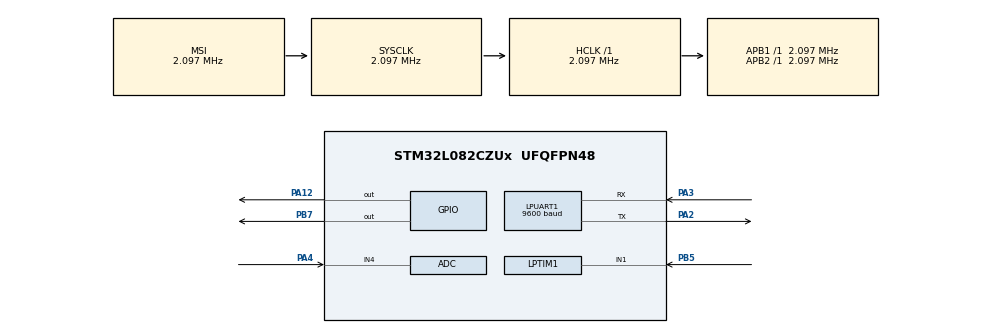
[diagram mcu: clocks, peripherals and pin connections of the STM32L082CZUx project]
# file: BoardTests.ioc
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ADC.DataAlign=ADC_DATAALIGN_RIGHT
ADC.Resolution=ADC_RESOLUTION_12B
ADC.SamplingTime=ADC_SAMPLETIME_39CYCLES_5
LPTIM1.UpdateMode=LPTIM_UPDATE_IMMEDIATE
LPUART1.BaudRate=9600
LPUART1.WordLength=UART_WORDLENGTH_8B
Mcu.Family=STM32L0
Mcu.Name=STM32L082CZUx
Mcu.Package=UFQFPN48
NVIC.LPTIM1_IRQn=true\:0\:0\:false\:false\:true\:true\:true
NVIC.RTC_IRQn=true\:0\:0\:false\:false\:true\:true\:true
PA12.PinState=GPIO_PIN_RESET
PA12.Signal=GPIO_Output
PA2.Mode=Asynchronous
PA2.Signal=LPUART1_TX
PA3.Mode=Asynchronous
PA3.Signal=LPUART1_RX
PA4.Mode=IN4
PA4.Signal=ADC_IN4
PB5.Mode=Counts_external_clock_standalone_1X_occur1
PB5.Signal=LPTIM1_IN1
PB7.Signal=GPIO_Output
ProjectManager.HeapSize=0x200
ProjectManager.StackSize=0x400
ProjectManager.TargetToolchain=STM32CubeIDE
RCC.AHBFreq_Value=2097000
RCC.APB1Freq_Value=2097000
RCC.APB1TimFreq_Value=2097000
RCC.APB2Freq_Value=2097000
RCC.APB2TimFreq_Value=2097000
RCC.HSE_VALUE=8000000
RCC.HSI16_VALUE=16000000
RCC.HSI48_VALUE=48000000
RCC.HSI_VALUE=16000000
RCC.LSE_VALUE=32768
RCC.MSI_VALUE=2097000
RCC.SYSCLKFreq_VALUE=2097000
RCC.VCOOutputFreq_Value=48000000
RTC.WakeUpClock-WakeUp=RTC_WAKEUPCLOCK_CK_SPRE_16BITS
VP_RTC_VS_RTC_Activate.Mode=RTC_Enabled
VP_RTC_VS_RTC_WakeUp_intern.Mode=WakeUp
board=custom

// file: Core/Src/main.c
/* USER CODE BEGIN Header */
/**
  ******************************************************************************
  * @file           : main.c
  * @brief          : Main program body
  ******************************************************************************
  * @attention
  *
  * <h2><center>&copy; Copyright (c) 2020 STMicroelectronics.
  * All rights reserved.</center></h2>
  *
  * This software component is licensed by ST under BSD 3-Clause license,
  * the "License"; You may not use this file except in compliance with the
  * License. You may obtain a copy of the License at:
  *                        opensource.org/licenses/BSD-3-Clause
  *
  ******************************************************************************
  */
/* USER CODE END Header */

#include "main.h"

/* USER CODE BEGIN Includes */
#include <string.h>
#include <stdio.h>
/* USER CODE END Includes */

/* USER CODE BEGIN PD */
#define VCC_SENSOR_PIN      GPIO_PIN_11 // PA11
#define RELAY_OPEN_PIN      GPIO_PIN_8  // PA8
#define LORA_VDD_TCXO       GPIO_PIN_12 // PA12
#define BUTTON_PIN          GPIO_PIN_0  // PA0
#define GREEN_LED_PIN       GPIO_PIN_7  // PB7
#define PULSE_COUNTER_PIN   GPIO_PIN_5  // PB6 FIXME: Pulse counter should be on PB5 (LPTIM1 IN1): swap with SONAR_CMD
#define BAT_MES_NOW_PIN     GPIO_PIN_2  // PB2
#define VBAT_DIV3_PIN       GPIO_PIN_4  // PA4
/* USER CODE END PD */

ADC_HandleTypeDef hadc;

LPTIM_HandleTypeDef hlptim1;

UART_HandleTypeDef hlpuart1;

RTC_HandleTypeDef hrtc;

/* USER CODE BEGIN PV */
static const uint8_t  UART_BUF_SIZE = 64;
/* USER CODE END PV */

void SystemClock_Config(void);
static void MX_GPIO_Init(void);
static void MX_LPUART1_UART_Init(void);
static void MX_LPTIM1_Init(void);
static void MX_ADC_Init(void);
static void MX_RTC_Init(void);
/* USER CODE BEGIN PFP */
static void test_relay();
static void enable_vcc_sensor();
static void disable_vcc_sensor();
static void test_button_poll();
static void test_leds();
static void test_pulse_poll();
static void test_pulse_lp_timer();
static void test_battery_measure();
static void test_stop_mode();
static void test_standby_mode();
/* USER CODE END PFP */

int main(void)
{
  /* USER CODE BEGIN 1 */
	uint8_t uartBuf[UART_BUF_SIZE];
  /* USER CODE END 1 */

  /* MCU Configuration--------------------------------------------------------*/

  /* Reset of all peripherals, Initializes the Flash interface and the Systick. */
  HAL_Init();

  /* Configure the system clock */
  SystemClock_Config();

  /* Initialize all configured peripherals */
  MX_GPIO_Init();
  MX_LPUART1_UART_Init();
  MX_LPTIM1_Init();
  MX_ADC_Init();
  MX_RTC_Init();
  /* USER CODE BEGIN 2 */
  snprintf((char*)uartBuf, UART_BUF_SIZE, "Code started..\n\r");
  HAL_UART_Transmit(&hlpuart1, uartBuf, strlen((char*)uartBuf), HAL_MAX_DELAY);

  /**Set a pin to 1 at begining, the 0 when stop, the 1 when wake up**/
	 GPIO_InitTypeDef x;
	 x.Pin   = PULSE_COUNTER_PIN;
	 x.Mode  = GPIO_MODE_OUTPUT_PP;

	 HAL_GPIO_Init(GPIOB, &x);
	 HAL_GPIO_WritePin(GPIOB, x.Pin, 1);

  /**
   * TODO: Uncomment these functions to test the functionalities
   */
  //test_relay();
  //test_button_poll();
  //test_leds();
  //test_pulse_poll();
  //test_pulse_lp_timer();
  //test_battery_measure();
  test_stop_mode();
 // test_standby_mode();

  /* USER CODE END 2 */

  /* Infinite loop */
  /* USER CODE BEGIN WHILE */
  while (1)
  {
	  HAL_GPIO_WritePin(GPIOB, x.Pin, 0);
    // Print out buffer (data or error message)
    snprintf((char*)uartBuf, UART_BUF_SIZE, "Hello world\n\r");
    HAL_UART_Transmit(&hlpuart1, uartBuf, strlen((char*)uartBuf), HAL_MAX_DELAY);

    // Wait
    HAL_Delay(2000);
    /* USER CODE END WHILE */

  }
}

void SystemClock_Config(void)
{
  RCC_OscInitTypeDef RCC_OscInitStruct = {0};
  RCC_ClkInitTypeDef RCC_ClkInitStruct = {0};
  RCC_PeriphCLKInitTypeDef PeriphClkInit = {0};

  /** Configure the main internal regulator output voltage
  */
  __HAL_PWR_VOLTAGESCALING_CONFIG(PWR_REGULATOR_VOLTAGE_SCALE1);
  /** Initializes the CPU, AHB and APB busses clocks
  */
  RCC_OscInitStruct.OscillatorType = RCC_OSCILLATORTYPE_LSI|RCC_OSCILLATORTYPE_MSI;
  RCC_OscInitStruct.LSIState = RCC_LSI_ON;
  RCC_OscInitStruct.MSIState = RCC_MSI_ON;
  RCC_OscInitStruct.MSICalibrationValue = 0;
  RCC_OscInitStruct.MSIClockRange = RCC_MSIRANGE_5;
  RCC_OscInitStruct.PLL.PLLState = RCC_PLL_NONE;
  if (HAL_RCC_OscConfig(&RCC_OscInitStruct) != HAL_OK)
  {
    Error_Handler();
  }
  /** Initializes the CPU, AHB and APB busses clocks
  */
  RCC_ClkInitStruct.ClockType = RCC_CLOCKTYPE_HCLK|RCC_CLOCKTYPE_SYSCLK
                              |RCC_CLOCKTYPE_PCLK1|RCC_CLOCKTYPE_PCLK2;
  RCC_ClkInitStruct.SYSCLKSource = RCC_SYSCLKSOURCE_MSI;
  RCC_ClkInitStruct.AHBCLKDivider = RCC_SYSCLK_DIV1;
  RCC_ClkInitStruct.APB1CLKDivider = RCC_HCLK_DIV1;
  RCC_ClkInitStruct.APB2CLKDivider = RCC_HCLK_DIV1;

  if (HAL_RCC_ClockConfig(&RCC_ClkInitStruct, FLASH_LATENCY_0) != HAL_OK)
  {
    Error_Handler();
  }
  PeriphClkInit.PeriphClockSelection = RCC_PERIPHCLK_LPUART1|RCC_PERIPHCLK_RTC
                              |RCC_PERIPHCLK_LPTIM1;
  PeriphClkInit.Lpuart1ClockSelection = RCC_LPUART1CLKSOURCE_PCLK1;
  PeriphClkInit.RTCClockSelection = RCC_RTCCLKSOURCE_LSI;
  PeriphClkInit.LptimClockSelection = RCC_LPTIM1CLKSOURCE_PCLK;

  if (HAL_RCCEx_PeriphCLKConfig(&PeriphClkInit) != HAL_OK)
  {
    Error_Handler();
  }
}

static void MX_ADC_Init(void)
{

  ADC_ChannelConfTypeDef sConfig = {0};

  /** Configure the global features of the ADC (Clock, Resolution, Data Alignment and number of conversion)
  */
  hadc.Instance = ADC1;
  hadc.Init.OversamplingMode = DISABLE;
  hadc.Init.ClockPrescaler = ADC_CLOCK_SYNC_PCLK_DIV1;
  hadc.Init.Resolution = ADC_RESOLUTION_12B;
  hadc.Init.SamplingTime = ADC_SAMPLETIME_39CYCLES_5;
  hadc.Init.ScanConvMode = ADC_SCAN_DIRECTION_FORWARD;
  hadc.Init.DataAlign = ADC_DATAALIGN_RIGHT;
  hadc.Init.ContinuousConvMode = DISABLE;
  hadc.Init.DiscontinuousConvMode = DISABLE;
  hadc.Init.ExternalTrigConvEdge = ADC_EXTERNALTRIGCONVEDGE_NONE;
  hadc.Init.ExternalTrigConv = ADC_SOFTWARE_START;
  hadc.Init.DMAContinuousRequests = DISABLE;
  hadc.Init.EOCSelection = ADC_EOC_SINGLE_CONV;
  hadc.Init.Overrun = ADC_OVR_DATA_PRESERVED;
  hadc.Init.LowPowerAutoWait = DISABLE;
  hadc.Init.LowPowerFrequencyMode = DISABLE;
  hadc.Init.LowPowerAutoPowerOff = DISABLE;
  if (HAL_ADC_Init(&hadc) != HAL_OK)
  {
    Error_Handler();
  }
  /** Configure for the selected ADC regular channel to be converted.
  */
  sConfig.Channel = ADC_CHANNEL_4;
  sConfig.Rank = ADC_RANK_CHANNEL_NUMBER;
  if (HAL_ADC_ConfigChannel(&hadc, &sConfig) != HAL_OK)
  {
    Error_Handler();
  }

}

static void MX_LPTIM1_Init(void)
{

  hlptim1.Instance = LPTIM1;
  hlptim1.Init.Clock.Source = LPTIM_CLOCKSOURCE_ULPTIM;
  hlptim1.Init.Clock.Prescaler = LPTIM_PRESCALER_DIV1;
  hlptim1.Init.UltraLowPowerClock.Polarity = LPTIM_CLOCKPOLARITY_RISING;
  hlptim1.Init.UltraLowPowerClock.SampleTime = LPTIM_CLOCKSAMPLETIME_DIRECTTRANSITION;
  hlptim1.Init.Trigger.Source = LPTIM_TRIGSOURCE_SOFTWARE;
  hlptim1.Init.OutputPolarity = LPTIM_OUTPUTPOLARITY_HIGH;
  hlptim1.Init.UpdateMode = LPTIM_UPDATE_IMMEDIATE;
  hlptim1.Init.CounterSource = LPTIM_COUNTERSOURCE_EXTERNAL;
  if (HAL_LPTIM_Init(&hlptim1) != HAL_OK)
  {
    Error_Handler();
  }

}

static void MX_LPUART1_UART_Init(void)
{

  hlpuart1.Instance = LPUART1;
  hlpuart1.Init.BaudRate = 9600;
  hlpuart1.Init.WordLength = UART_WORDLENGTH_8B;
  hlpuart1.Init.StopBits = UART_STOPBITS_1;
  hlpuart1.Init.Parity = UART_PARITY_NONE;
  hlpuart1.Init.Mode = UART_MODE_TX_RX;
  hlpuart1.Init.HwFlowCtl = UART_HWCONTROL_NONE;
  hlpuart1.Init.OneBitSampling = UART_ONE_BIT_SAMPLE_DISABLE;
  hlpuart1.AdvancedInit.AdvFeatureInit = UART_ADVFEATURE_NO_INIT;
  if (HAL_UART_Init(&hlpuart1) != HAL_OK)
  {
    Error_Handler();
  }

}

static void MX_RTC_Init(void)
{

  /** Initialize RTC Only
  */
  hrtc.Instance = RTC;
  hrtc.Init.HourFormat = RTC_HOURFORMAT_24;
  hrtc.Init.AsynchPrediv = 127;
  hrtc.Init.SynchPrediv = 255;
  hrtc.Init.OutPut = RTC_OUTPUT_DISABLE;
  hrtc.Init.OutPutRemap = RTC_OUTPUT_REMAP_NONE;
  hrtc.Init.OutPutPolarity = RTC_OUTPUT_POLARITY_HIGH;
  hrtc.Init.OutPutType = RTC_OUTPUT_TYPE_OPENDRAIN;
  if (HAL_RTC_Init(&hrtc) != HAL_OK)
  {
    Error_Handler();
  }
  /** Enable the WakeUp
  */
  if (HAL_RTCEx_SetWakeUpTimer_IT(&hrtc, 0, RTC_WAKEUPCLOCK_CK_SPRE_16BITS) != HAL_OK)
  {
    Error_Handler();
  }

}

static void MX_GPIO_Init(void)
{
  GPIO_InitTypeDef GPIO_InitStruct = {0};

  /* GPIO Ports Clock Enable */
  __HAL_RCC_GPIOA_CLK_ENABLE();
  __HAL_RCC_GPIOB_CLK_ENABLE();

  /*Configure GPIO pin Output Level */
  HAL_GPIO_WritePin(GPIOA, GPIO_PIN_12, GPIO_PIN_RESET);

  /*Configure GPIO pin Output Level */
  HAL_GPIO_WritePin(GPIOB, GPIO_PIN_7, GPIO_PIN_RESET);

  /*Configure GPIO pin : PA12 */
  GPIO_InitStruct.Pin = GPIO_PIN_12;
  GPIO_InitStruct.Mode = GPIO_MODE_OUTPUT_PP;
  GPIO_InitStruct.Pull = GPIO_NOPULL;
  GPIO_InitStruct.Speed = GPIO_SPEED_FREQ_LOW;
  HAL_GPIO_Init(GPIOA, &GPIO_InitStruct);

  /*Configure GPIO pin : PB7 */
  GPIO_InitStruct.Pin = GPIO_PIN_7;
  GPIO_InitStruct.Mode = GPIO_MODE_OUTPUT_PP;
  GPIO_InitStruct.Pull = GPIO_NOPULL;
  GPIO_InitStruct.Speed = GPIO_SPEED_FREQ_LOW;
  HAL_GPIO_Init(GPIOB, &GPIO_InitStruct);

}

/* USER CODE BEGIN 4 */

/**
 * Changes the relay state two times. The v_sensor is enabled while driving the relay
 */
static void test_relay()
{
  int relay_state = 0;

  GPIO_InitTypeDef gp = {
      .Pin  = RELAY_OPEN_PIN,
      .Mode = GPIO_MODE_OUTPUT_PP,
  };
  HAL_GPIO_Init(GPIOA, &gp);

  for(int i = 0; i < 2; i++) {
    enable_vcc_sensor();

    relay_state = (relay_state ? 0 : 1);
    HAL_GPIO_WritePin(GPIOA, gp.Pin, relay_state);
    HAL_Delay(4);   // max commutating time is 4ms

    disable_vcc_sensor();

    HAL_Delay(1500);
  }
}

static void enable_vcc_sensor()
{
  GPIO_InitTypeDef gp = {
      .Pin  = VCC_SENSOR_PIN,
      .Mode = GPIO_MODE_OUTPUT_PP,
  };
  HAL_GPIO_Init(GPIOA, &gp);
  HAL_GPIO_WritePin(GPIOA, gp.Pin, 1);
}

static void disable_vcc_sensor()
{
  GPIO_InitTypeDef gp = {
      .Pin  = VCC_SENSOR_PIN,
      .Mode = GPIO_MODE_OUTPUT_PP,
  };
  HAL_GPIO_Init(GPIOA, &gp);
  HAL_GPIO_WritePin(GPIOA, gp.Pin, 0);
}

/**
 * Reads the BUTTON 'ACT1' value doing polling
 */
static void test_button_poll()
{
  uint8_t buf[32];
  uint8_t button_value = 0;

  // init button as input
  GPIO_InitTypeDef gp = {
      .Pin  = BUTTON_PIN,
      .Mode = GPIO_MODE_INPUT,
  };
  HAL_GPIO_Init(GPIOA, &gp);

  for(int i = 0; i < 50; i++) {
    button_value = HAL_GPIO_ReadPin(GPIOA, BUTTON_PIN);
    snprintf((char*)buf, 32, "Button value = %d\n\r", button_value);
    HAL_UART_Transmit(&hlpuart1, buf, strlen((char*)buf), HAL_MAX_DELAY);
    HAL_Delay(100);
  }
}

/**
 * Blinking the LD_GREEN to test the LED
 *
 * TODO: Couldn't initialize the LED GPIO here and not from the MX_GPIO_Init() (the LED doesn't blink))
 */
static void test_leds()
{
  int led_state = 0;

  // Init LED GPIO (FIXME: Don't know why when initializing the LED GPIO here and not in the MX_GPIO_Init(), the LED is not blinking)
  GPIO_InitTypeDef GPIO_InitStruct = {0};

  /*Configure GPIO pin Output Level */
  HAL_GPIO_WritePin(GPIOB, GPIO_PIN_7, GPIO_PIN_RESET);

  /*Configure GPIO pin : PB7 */
  GPIO_InitStruct.Pin = GPIO_PIN_7;
  GPIO_InitStruct.Mode = GPIO_MODE_OUTPUT_PP;
  GPIO_InitStruct.Pull = GPIO_NOPULL;
  GPIO_InitStruct.Speed = GPIO_SPEED_FREQ_LOW;
  HAL_GPIO_Init(GPIOB, &GPIO_InitStruct);

  for(int i = 0; i < 20; i++) {
      led_state = (led_state ? 0 : 1);
      HAL_GPIO_WritePin(GPIOB, GREEN_LED_PIN, led_state);
      HAL_Delay(500);
    }
}

/**
 * Reads PULSE_COUNTER state (high or low) doing polling to validate the optocoupler is working
 *
 * Note: The PULSE_COUNTER input is now on PB6 (LPTIM1_ETR) and will be swap with PB5 (LPTIM1_IN1)
 */
static void test_pulse_poll()
{
  uint8_t buf[32];
  uint8_t input_value = 0;

  // init pulse as input
  GPIO_InitTypeDef gp = {
      .Pin  = PULSE_COUNTER_PIN,
      .Mode = GPIO_MODE_INPUT,
  };
  HAL_GPIO_Init(GPIOB, &gp);

  for(int i = 0; i < 50; i++) {
    input_value = HAL_GPIO_ReadPin(GPIOB, PULSE_COUNTER_PIN);
    snprintf((char*)buf, 32, "Pulse input value = %d\n\r", input_value);
    HAL_UART_Transmit(&hlpuart1, buf, strlen((char*)buf), HAL_MAX_DELAY);
    HAL_Delay(100);
  }
}

/**
 * Counts the pulses from the PULSE_COUNTER input using the Low-Power Timer. The CPU is set in STOP
 * mode and wake up by the timer when the counter reaches 50.
 *
 * TODO: When the CPU enters in stop mode, it continues instead of stopping there until the interrupt occurs
 *
 * Note: The PULSE_COUNTER input is now on PB6 (LPTIM1_ETR) and will be swap with PB5 (LPTIM1_IN1)
 */
static void test_pulse_lp_timer()
{
  uint8_t buf[32];
  uint16_t ticks = 0;

  // start counter
  HAL_LPTIM_Counter_Start_IT(&hlptim1, 10);    // period of the counting up to 65535

  for(int i = 0; i < 50; i++) {
      ticks = HAL_LPTIM_ReadCounter(&hlptim1);
      snprintf((char*)buf, 32, "Pulse input counter=%d\n\r", ticks);
      HAL_UART_Transmit(&hlpuart1, buf, strlen((char*)buf), HAL_MAX_DELAY);
      HAL_Delay(200);
    }

  snprintf((char*)buf, 32, "I'm going to sleep..\n\r");
  HAL_UART_Transmit(&hlpuart1, buf, strlen((char*)buf), HAL_MAX_DELAY);

  // Go in stop mode
  __HAL_PWR_CLEAR_FLAG(PWR_FLAG_WU);  // clear wakeup flag
  HAL_PWR_EnterSTOPMode(PWR_LOWPOWERREGULATOR_ON, PWR_STOPENTRY_WFI); // go in stop mode

  snprintf((char*)buf, 32, "I'm waking up\n\r");
  HAL_UART_Transmit(&hlpuart1, buf, strlen((char*)buf), HAL_MAX_DELAY);
}

/**
  * @brief  Autoreload match callback in non blocking mode. Interrupt called when the LPTIM reaches its period
  *
  * @param  hlptim : LPTIM handle
  * @retval None
  */
void HAL_LPTIM_AutoReloadMatchCallback(LPTIM_HandleTypeDef *hlptim)
{
  uint8_t buf[32];
  snprintf((char*)buf, 32, "AutoReloadMatchCallback\n\r");
  HAL_UART_Transmit(&hlpuart1, buf, strlen((char*)buf), HAL_MAX_DELAY);
}

/**
 * Tests the battery measurement. Put the BAT_MES_NOW pin to HIGH at start and
 * then do one measure each 500ms. In the end, put BAT_MES_NOW to LOW.
 * The ADC measure range is from 0 (for 0v) to 4096 (for 3.3V) and v_bat is
 * divided by 3 (so meas=1365 when v_bat=3.3V).
 *
 * Note: The TPS22945 stops driving when v_bat is under 1.5V
 */
static void test_battery_measure()
{
  uint8_t buf[32];
  uint16_t battery_value = 0;

  // init bat_mes_now as output
  GPIO_InitTypeDef gp = {
      .Pin  = BAT_MES_NOW_PIN,
      .Mode = GPIO_MODE_OUTPUT_PP,
  };
  HAL_GPIO_Init(GPIOB, &gp);

  // enable bat_mes_now
  HAL_GPIO_WritePin(GPIOB, BAT_MES_NOW_PIN, 1);
  HAL_Delay(5);

  for(int i = 0; i < 100; i++) {
    // get ADC value
    HAL_ADC_Start(&hadc);
    HAL_ADC_PollForConversion(&hadc, HAL_MAX_DELAY);
    battery_value = HAL_ADC_GetValue(&hadc);

    snprintf((char*)buf, 32, "Battery value = %u\n\r", battery_value);
    HAL_UART_Transmit(&hlpuart1, buf, strlen((char*)buf), HAL_MAX_DELAY);
    HAL_Delay(500);
  }

  // disable bat_mes_now
  HAL_GPIO_WritePin(GPIOB, BAT_MES_NOW_PIN, 0);
}

/**
 * First runs for a while in standard mode, and then pass in stop mode. The rtc wakes up
 * the device after a while and the code should continue where it was.
 *
 * TODO: The EnterSTOPMode function doesn't stops or is woke up directly after
 *
 * TODO: Enable the LPTIM counter (uncomment the related lines) and check the value still increments in stop mode
 */
static void test_stop_mode()
{
  uint8_t buf[32];
  uint32_t ticks = 0;

  //while(1) {
    // start counting pulses
    //HAL_LPTIM_Counter_Start_IT(&hlptim1, 30);

    // run for a while
   // for(int i = 0; i < 50; i++) {
      //ticks = HAL_LPTIM_ReadCounter(&hlptim1);
   //   snprintf((char*)buf, 32, "Normal mode, i=%u, pulse=%lu\n\r", i, ticks);
   //   HAL_UART_Transmit(&hlpuart1, buf, strlen((char*)buf), HAL_MAX_DELAY);
   // }

    // set RTC wakeup
    HAL_RTCEx_DeactivateWakeUpTimer(&hrtc);
    HAL_RTCEx_SetWakeUpTimer_IT(&hrtc, 30, RTC_WAKEUPCLOCK_CK_SPRE_16BITS);

    snprintf((char*)buf, 32, "Go to stop mode...\n\r");
    HAL_UART_Transmit(&hlpuart1, buf, strlen((char*)buf), HAL_MAX_DELAY);

    // go to stop mode
    __HAL_PWR_CLEAR_FLAG(PWR_FLAG_WU);  // clear wakeup flag
    HAL_PWR_EnterSTOPMode(PWR_LOWPOWERREGULATOR_ON, PWR_STOPENTRY_WFI); // go in stop mode

    // ticks after wake up
    //ticks = HAL_LPTIM_ReadCounter(&hlptim1);
   // snprintf((char*)buf, 32, "Waking up, pulse=%lu\n\r", ticks);
   // HAL_UART_Transmit(&hlpuart1, buf, strlen((char*)buf), HAL_MAX_DELAY);
  //}
}

/**
 * First runs for a while in standard mode, and then pass in standby mode. The rtc wakes up
 * the device after a while and the main() function is called.
 * A message is printed to indicate that the system was resumed from standby mode and not
 * from a reset.
 *
 *
 * Note: The LPTIM1 can't be used in standby mode to count the pulses
 */
static void test_standby_mode()
{
  uint8_t buf[32];

  // Check and handle if the system was resumed from StandBy mode
  if(__HAL_PWR_GET_FLAG(PWR_FLAG_SB) != RESET)
  {
    snprintf((char*)buf, 32, "System resumed from standy\n\r");
    HAL_UART_Transmit(&hlpuart1, buf, strlen((char*)buf), HAL_MAX_DELAY);

    // Clear Standby flag
    __HAL_PWR_CLEAR_FLAG(PWR_FLAG_SB);
  }

  // run for a while
  for(int i = 0; i < 200; i++) {
    snprintf((char*)buf, 32, "Normal mode, i=%u\n\r", i);
    HAL_UART_Transmit(&hlpuart1, buf, strlen((char*)buf), HAL_MAX_DELAY);
  }

  // disable vcc sensor (and also RF if JP1 connects V_SENSOR with VDD_FR)
  disable_vcc_sensor();

  // set RTC wakeup
  HAL_RTCEx_DeactivateWakeUpTimer(&hrtc);

  HAL_RTCEx_SetWakeUpTimer_IT(&hrtc, 15, RTC_WAKEUPCLOCK_CK_SPRE_16BITS);

  snprintf((char*)buf, 32, "Go to standby mode...\n\r");
  HAL_UART_Transmit(&hlpuart1, buf, strlen((char*)buf), HAL_MAX_DELAY);

  // go to standby
  __HAL_PWR_CLEAR_FLAG(PWR_FLAG_WU);  // clear wakeup flag
  HAL_PWR_EnterSTANDBYMode();

  // after wake up (should not arrive in standby mode because the main() function is called after wake up)
  snprintf((char*)buf, 32, "Waking up, pulse=%lu\n\r", HAL_LPTIM_ReadCounter(&hlptim1));
  HAL_UART_Transmit(&hlpuart1, buf, strlen((char*)buf), HAL_MAX_DELAY);
}

/* USER CODE END 4 */

void Error_Handler(void)
{
}

/************************ (C) COPYRIGHT STMicroelectronics *****END OF FILE****/
